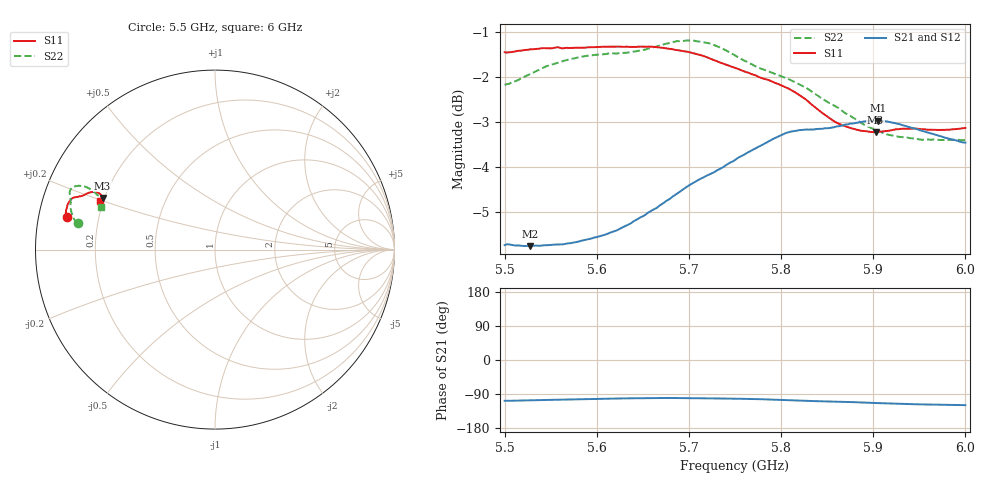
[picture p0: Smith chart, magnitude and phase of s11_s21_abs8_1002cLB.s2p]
! MS46122B
! 1919307/90821646
! 7/29/2022 12:47:03 PM
! C:\USERS\PC_\DESKTOP\MEDICIONES\BANCHA ESTRECHA\55_6GHZ\S11_S21_ABS8_1002CL.S2P
! CHANNEL.1
! TR.MEASUREMENT
! CORRECTED.DATA
# GHZ S RI R 50.0
! FREQ.GHZ  S11RE  S11IM  S21RE  S21IM  S12RE  S12IM  S22RE  S22IM
!; PortSelection: Port_12
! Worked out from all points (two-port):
!   201 points, 5.5 GHz to 6 GHz, reference 50 ohm
!   highest |S21| = -2.97 dB at 5.905 GHz (marker M1); lowest = -5.8 dB at 5.527 GHz (marker M2)
!   |S21| within 3 dB of the highest: start of sweep to end of sweep
!   lowest |S11| = -3.2 dB at 5.902 GHz (marker M3), VSWR 5.44, Z = 9.61 + j10.5 ohm
!   |S11| at or under -10 dB: nowhere
!   |S22| runs from -3.4 to -1.2 dB; largest |S21 - S12| = 0.014
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5.5  -0.8268 0.1804  -0.1569 -0.4922  -0.1525 -0.4932  -0.7646 0.1461
5.5275  -0.8306 0.191  -0.1461 -0.494  -0.1377 -0.4935  -0.7828 0.1655
5.55  -0.8302 0.2023  -0.1353 -0.4988  -0.1259 -0.4987  -0.7963 0.1933
5.585  -0.8296 0.2109  -0.1226 -0.5083  -0.1122 -0.5114  -0.8045 0.2308
5.63  -0.8271 0.2276  -0.1059 -0.5315  -0.0971 -0.5343  -0.804 0.2593
5.6675  -0.8156 0.2614  -0.1018 -0.5617  -0.0927 -0.5654  -0.8072 0.2976
5.705  -0.7938 0.2868  -0.1117 -0.5957  -0.1063 -0.6004  -0.8047 0.335
5.7225  -0.7802 0.2914  -0.1187 -0.6077  -0.1161 -0.6132  -0.7925 0.3479
5.75  -0.7574 0.2962  -0.1355 -0.6278  -0.1328 -0.6306  -0.7603 0.3557
5.7725  -0.7392 0.2997  -0.1505 -0.6444  -0.1453 -0.6475  -0.7357 0.3532
5.8  -0.7118 0.3127  -0.1806 -0.6598  -0.1779 -0.6628  -0.7155 0.3483
5.835  -0.6643 0.3205  -0.2188 -0.6589  -0.216 -0.6593  -0.6874 0.3312
5.8625  -0.6353 0.3052  -0.2414 -0.6573  -0.2351 -0.6553  -0.6634 0.3124
5.875  -0.6312 0.2963  -0.2521 -0.6583  -0.2441 -0.6559  -0.6524 0.3029
5.9025  -0.6267 0.2877  -0.2842 -0.6511  -0.2779 -0.6474  -0.6321 0.2834
5.905  -0.6273 0.2875  -0.286 -0.6504  -0.2783 -0.6471  -0.6319 0.2824
5.9175  -0.6299 0.2872  -0.2965 -0.6428  -0.2919 -0.6376  -0.6288 0.2709
5.9275  -0.6319 0.2892  -0.302 -0.6363  -0.3 -0.6281  -0.6286 0.2634
5.93  -0.6326 0.289  -0.3078 -0.6322  -0.2964 -0.6291  -0.63 0.2594
5.9375  -0.6323 0.2899  -0.3098 -0.6272  -0.3038 -0.6196  -0.6305 0.2546
5.96  -0.6311 0.2886  -0.3191 -0.6103  -0.3075 -0.6026  -0.6337 0.2376
6  -0.6414 0.2732  -0.3272 -0.5863  -0.3133 -0.5859  -0.6328 0.2377
